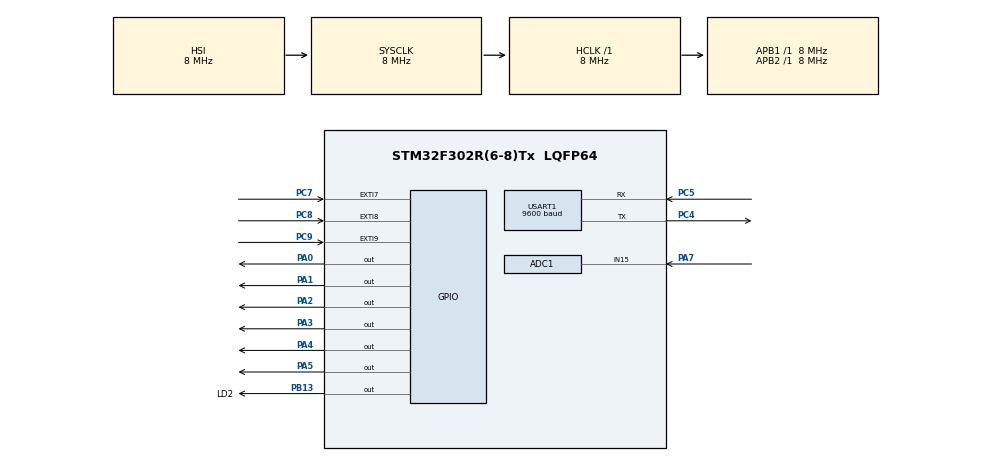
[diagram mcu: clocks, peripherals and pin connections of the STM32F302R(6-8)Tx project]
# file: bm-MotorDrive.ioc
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ADC1.Channel-1\#ChannelRegularConversion=ADC_CHANNEL_15
ADC1.ContinuousConvMode=ENABLE
ADC1.NbrOfConversionFlag=1
ADC1.Offset-1\#ChannelRegularConversion=0
ADC1.OffsetNumber-1\#ChannelRegularConversion=ADC_OFFSET_NONE
ADC1.Rank-1\#ChannelRegularConversion=1
ADC1.SamplingTime-1\#ChannelRegularConversion=ADC_SAMPLETIME_1CYCLE_5
ADC1.SamplingTimeOPAMP-1\#ChannelRegularConversion=ADC_SAMPLETIME_4CYCLES_5
ADC1.SubFamily=STM32F302x8
ADC1.master=1
Mcu.Family=STM32F3
Mcu.Name=STM32F302R(6-8)Tx
Mcu.Package=LQFP64
NVIC.EXTI9_5_IRQn=true\:0\:0\:false\:false\:true\:true\:true\:true
NVIC.PriorityGroup=NVIC_PRIORITYGROUP_4
NVIC.TIM2_IRQn=true\:0\:0\:false\:false\:true\:true\:true\:true
NVIC.USART1_IRQn=true\:0\:0\:false\:false\:true\:true\:true\:true
PA0.GPIO_Speed=GPIO_SPEED_FREQ_HIGH
PA0.PinState=GPIO_PIN_SET
PA0.Signal=GPIO_Output
PA1.GPIO_Speed=GPIO_SPEED_FREQ_HIGH
PA1.Signal=GPIO_Output
PA13.Mode=Serial_Wire
PA13.Signal=SYS_JTMS-SWDIO
PA14.Mode=Serial_Wire
PA14.Signal=SYS_JTCK-SWCLK
PA2.GPIO_Speed=GPIO_SPEED_FREQ_HIGH
PA2.Signal=GPIO_Output
PA3.GPIO_Speed=GPIO_SPEED_FREQ_HIGH
PA3.Signal=GPIO_Output
PA4.GPIO_Speed=GPIO_SPEED_FREQ_HIGH
PA4.Signal=GPIO_Output
PA5.GPIO_Speed=GPIO_SPEED_FREQ_HIGH
PA5.Signal=GPIO_Output
PA7.Mode=IN15-Single-Ended
PA7.Signal=ADC1_IN15
PB13.GPIO_Label=LD2
PB13.GPIO_Speed=GPIO_SPEED_FREQ_HIGH
PB13.Signal=GPIO_Output
PC4.Mode=Asynchronous
PC4.Signal=USART1_TX
PC5.Mode=Asynchronous
PC5.Signal=USART1_RX
PC7.GPIO_ModeDefaultEXTI=GPIO_MODE_IT_RISING_FALLING
PC7.GPIO_PuPd=GPIO_PULLUP
PC7.Signal=GPXTI7
PC8.GPIO_ModeDefaultEXTI=GPIO_MODE_IT_RISING_FALLING
PC8.GPIO_PuPd=GPIO_PULLUP
PC8.Signal=GPXTI8
PC9.GPIO_ModeDefaultEXTI=GPIO_MODE_IT_RISING_FALLING
PC9.GPIO_PuPd=GPIO_PULLUP
PC9.Signal=GPXTI9
ProjectManager.HeapSize=0x200
ProjectManager.StackSize=0x400
ProjectManager.TargetToolchain=STM32CubeIDE
RCC.ADC12PRES=RCC_ADC1PLLCLK_DIV2
RCC.AHBFreq_Value=8000000
RCC.APB1Freq_Value=8000000
RCC.APB2Freq_Value=8000000
RCC.CortexFreq_Value=8000000
RCC.HSE_VALUE=8000000
RCC.HSI_VALUE=8000000
RCC.LSE_VALUE=32768
RCC.PLLMUL=RCC_PLL_MUL8
RCC.SYSCLKFreq_VALUE=8000000
RCC.USBFreq_Value=32000000
TIM15.AutoReloadPreload=TIM_AUTORELOAD_PRELOAD_ENABLE
TIM2.AutoReloadPreload=TIM_AUTORELOAD_PRELOAD_DISABLE
TIM2.Period=57599
TIM2.Prescaler=0
USART1.BaudRate=9600
USART1.VirtualMode-Asynchronous=VM_ASYNC
VP_TIM15_VS_ClockSourceINT.Mode=Internal
VP_TIM2_VS_ClockSourceINT.Mode=Internal
board=custom

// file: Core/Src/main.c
/* USER CODE BEGIN Header */
/**
  ******************************************************************************
  * @file           : main.c
  * @brief          : Main program body
  ******************************************************************************
  * @attention
  *
  * Copyright (c) 2024 STMicroelectronics.
  * All rights reserved.
  *
  * This software is licensed under terms that can be found in the LICENSE file
  * in the root directory of this software component.
  * If no LICENSE file comes with this software, it is provided AS-IS.
  *
  ******************************************************************************
  */
/**
 * Version 0.1 08MAR24 /Dkv
 * Motor Driver for BLDC motor.
 * Hall sensors for Six-step Commutation.
 */
/* USER CODE END Header */
#include "main.h"

/* USER CODE BEGIN Includes */
#include <stdio.h>
#include <string.h>
#include "appver.h"
#include "bldc.h"
/* USER CODE END Includes */

/* USER CODE BEGIN PD */
// Using the clock settings PLL Multiplicator = x8 and setting the auto reload
// register equal to 8000 will produce a timer interrupt of 1 ms.
// This means that every tick = 0.125 µs -> 6400 ticks is 800µs.
//
// Note! The ioc-tool notifies the user/developer if the PLL Multiplicator is
// less than mentioned above. This is because the ADC resource shares the clock
// resource with the TIM2 timer resource and the timer needs to have a higher
// clock frequency that the ADC...
//
// Since we want the switching frequency to be 1250 Hz we can calculate the ref.
// value for the timer compare register from the simple relationship of
// 8MHz/1250Hz = 6400.
#define SWITCHING_PERIOD_CLK_TICKS 6400
#define SLOW_TEST

/* USER CODE END PD */

ADC_HandleTypeDef hadc1;

TIM_HandleTypeDef htim2;
TIM_HandleTypeDef htim15;

UART_HandleTypeDef huart1;

void SystemClock_Config(void);
static void MX_GPIO_Init(void);
static void MX_USART1_UART_Init(void);
static void MX_TIM2_Init(void);
static void MX_TIM15_Init(void);
static void MX_ADC1_Init(void);
/* USER CODE BEGIN PFP */
/* PFP = Private Function Prototype
 * Forward-declare functions that is to be used in the code.
 * Functions definitions to be placed at the end of USER CODE 4.
 * */
/* USER CODE END PFP */

/* USER CODE BEGIN 0 */
uint8_t hallState = 0;
uint8_t pwmUpdate = 0;
uint8_t switchON = 1;
uint16_t gadcValue = 0;
int switchON_compReg = 3200;
enum direction {
   CW, // Clockwise
   CCW // Counterclockwise
} dir;

/******************************************************************************
 * The GPIO callback is triggered by the change in any of the HALL sensors.
 * The Hall sensor state will determine the gating signals for the switching
 * elements that make the 3-phase inverter unit, which will constitute the six-
 * step commutation process.
 */
void HAL_GPIO_EXTI_Callback(uint16_t GPIO_Pin) {
   uint32_t portRegister = GPIOC->IDR;
   hallState = (unsigned int)((portRegister&0x0380)>>7);
   printf("hall state = 0x%02x\r\n", hallState);
}

/******************************************************************************
 * adcValue between 0 and 4096
 * 0 -> 2048 reverse, 2049 -> 4096 forward
 *
 * => adcValue/21 => DutyCycle between 0 and 100%
 * ReverseDutyCycle = (2048 - adcValue)/21
 * ForwardDutyCycle = (adcValue - 2048)/21
 *
 * The higher the difference between the adc value and the center reference
 * value is the higher the duty cycle percentage is, which is also what the
 * user would expect when turning the "speed knob" to its clockwise or counter-
 * clockwise end points.
 *
 * By definition:
 * DC = ONtime/period
 *
 * ex. on 400µs => 400/800 => DC = 50%
 *
 * For the concept of using the potentiometer for both forward and reverse
 * motoring we'll calculate the ONtime for use with timer TIM2 in the following
 * way:
 *
 * ONtime = (ForwardDutyCycle*6400)/100
 * for 50% DC:
 * ONtime = 50*6400/100 = 3200
 *
 * DC = 10% => 10*6400/100 = 640 * 0.125µs = 80µs = 10% of 800 µs
 *
 */
void adcValue2pwmDutyCycle(uint16_t adcValue) {
   uint16_t DutyCycle;

   if ((adcValue < (gadcValue-5)) || (adcValue > (gadcValue+5))) {
      gadcValue = adcValue;
      if (adcValue > 2048) { // forward motoring
         DutyCycle = (adcValue - 2048)/21; // max = 2048/21 = 97.5%
         dir = CW; // Clockwise
      }
      else if (adcValue < 2048) { // reverse motoring
         DutyCycle = (2048 - adcValue)/21; // max = 2048/21 = 97.5%
         dir = CCW; // Counterclockwise
      }
      else {
         return;
      }
      // THE DUTY CYCLE HAS TO BE GREATER THAN 0!!!
      if (DutyCycle <= 0) {
         DutyCycle = 1; // 1%...
      }
      // Determine the value to use in the timer compare register for the
      // actual duty cycle that is selected through the potentiometers
      // position.
      switchON_compReg = (DutyCycle*SWITCHING_PERIOD_CLK_TICKS)/100;
   }
   return;
}

void HAL_TIM_PeriodElapsedCallback(TIM_HandleTypeDef *htim) {
   // PWM Signal
   uint8_t index;
   // Determine the switching state index:
   if (dir == CW) {
      index = hallState - 1;
   }
   else {
      index = 6 - hallState;
   }
   if (switchON == 1) { // switch transition from ON to OFF
      switchON = 0;
      // Change switch-gate-port.
      //GPIOA->ODR |= invSwitchState[index];
      GPIOA->ODR |= 0x1;

      /* Set new value for timer compare. */
      //htim->Instance->ARR = switchON_compReg;
      __HAL_TIM_SET_AUTORELOAD(&htim2, switchON_compReg);
   }
   else { // switch transition from ON to OFF
      switchON = 1;
      // Change switch-gate-port.
      //GPIOA->ODR &= pwmPinOff[index];
      GPIOA->ODR &= ~0x0015; // Setting all high side gates low.

      /* Set new value for timer compare.*/
      //htim->Instance->ARR = SWITCHING_PERIOD_CLK_TICKS - switchON_compReg;
      __HAL_TIM_SET_AUTORELOAD(&htim2, SWITCHING_PERIOD_CLK_TICKS - switchON_compReg);
   }
}

int _write(int fd, char *ptr, int len) {
   //HAL_UART_Transmit(&huart1, (uint8_t *) ptr, len, HAL_MAX_DELAY);
   HAL_UART_Transmit(&huart1, (uint8_t*) ptr, len, 1000);
   return len;
}
/* USER CODE END 0 */

int main(void)
{
  /* USER CODE BEGIN 1 */
   uint32_t adc_value;
  /* USER CODE END 1 */

  /* MCU Configuration--------------------------------------------------------*/

  /* Reset of all peripherals, Initializes the Flash interface and the Systick. */
  HAL_Init();

  /* Configure the system clock */
  SystemClock_Config();

  /* Initialize all configured peripherals */
  MX_GPIO_Init();
  MX_USART1_UART_Init();
  MX_TIM2_Init();
  MX_TIM15_Init();
  MX_ADC1_Init();
  /* USER CODE BEGIN 2 */

  printf("\r\n\r\nbm-MotorDrive SW on STM32-NUCLEO-F302R8 development board\r\n");
  printf("Build No. %d\r\n", BUILD);
  //
  HAL_ADC_Start(&hadc1);
  HAL_ADCEx_Calibration_Start(&hadc1, ADC_SINGLE_ENDED);
  //
  HAL_ADC_PollForConversion(&hadc1, 1);
  adc_value = HAL_ADC_GetValue(&hadc1);
  printf("adc_value = %d\r\n", (int)adc_value);
  adcValue2pwmDutyCycle((uint16_t)adc_value);
  HAL_Delay(1000);

  HAL_TIM_Base_Start_IT(&htim2);
  /* USER CODE END 2 */

  /* Infinite loop */
  while (1)
  {

    /* USER CODE BEGIN 3 */
     HAL_GPIO_TogglePin(LD2_GPIO_Port, LD2_Pin);
     HAL_Delay(1000);

     // Poll ADC1 Peripheral & TimeOut = 1mSec
     HAL_ADC_PollForConversion(&hadc1, 1);
     adc_value = HAL_ADC_GetValue(&hadc1);
     printf("adc_value = %d\r\n", (int)adc_value);
     adcValue2pwmDutyCycle((uint16_t)adc_value);

  }
  /* USER CODE END 3 */
}

void SystemClock_Config(void)
{
  RCC_OscInitTypeDef RCC_OscInitStruct = {0};
  RCC_ClkInitTypeDef RCC_ClkInitStruct = {0};
  RCC_PeriphCLKInitTypeDef PeriphClkInit = {0};

  /** Initializes the RCC Oscillators according to the specified parameters
  * in the RCC_OscInitTypeDef structure.
  */
  RCC_OscInitStruct.OscillatorType = RCC_OSCILLATORTYPE_HSI;
  RCC_OscInitStruct.HSIState = RCC_HSI_ON;
  RCC_OscInitStruct.HSICalibrationValue = RCC_HSICALIBRATION_DEFAULT;
  RCC_OscInitStruct.PLL.PLLState = RCC_PLL_ON;
  RCC_OscInitStruct.PLL.PLLSource = RCC_PLLSOURCE_HSI;
  RCC_OscInitStruct.PLL.PLLMUL = RCC_PLL_MUL8;
  if (HAL_RCC_OscConfig(&RCC_OscInitStruct) != HAL_OK)
  {
    Error_Handler();
  }

  /** Initializes the CPU, AHB and APB buses clocks
  */
  RCC_ClkInitStruct.ClockType = RCC_CLOCKTYPE_HCLK|RCC_CLOCKTYPE_SYSCLK
                              |RCC_CLOCKTYPE_PCLK1|RCC_CLOCKTYPE_PCLK2;
  RCC_ClkInitStruct.SYSCLKSource = RCC_SYSCLKSOURCE_HSI;
  RCC_ClkInitStruct.AHBCLKDivider = RCC_SYSCLK_DIV1;
  RCC_ClkInitStruct.APB1CLKDivider = RCC_HCLK_DIV1;
  RCC_ClkInitStruct.APB2CLKDivider = RCC_HCLK_DIV1;

  if (HAL_RCC_ClockConfig(&RCC_ClkInitStruct, FLASH_LATENCY_0) != HAL_OK)
  {
    Error_Handler();
  }
  PeriphClkInit.PeriphClockSelection = RCC_PERIPHCLK_USART1|RCC_PERIPHCLK_TIM15
                              |RCC_PERIPHCLK_ADC1;
  PeriphClkInit.Usart1ClockSelection = RCC_USART1CLKSOURCE_PCLK1;
  PeriphClkInit.Tim15ClockSelection = RCC_TIM15CLK_HCLK;
  PeriphClkInit.Adc1ClockSelection = RCC_ADC1PLLCLK_DIV2;

  if (HAL_RCCEx_PeriphCLKConfig(&PeriphClkInit) != HAL_OK)
  {
    Error_Handler();
  }
}

static void MX_ADC1_Init(void)
{

  ADC_ChannelConfTypeDef sConfig = {0};

  /** Common config
  */
  hadc1.Instance = ADC1;
  hadc1.Init.ClockPrescaler = ADC_CLOCK_ASYNC_DIV1;
  hadc1.Init.Resolution = ADC_RESOLUTION_12B;
  hadc1.Init.ScanConvMode = ADC_SCAN_DISABLE;
  hadc1.Init.ContinuousConvMode = ENABLE;
  hadc1.Init.DiscontinuousConvMode = DISABLE;
  hadc1.Init.ExternalTrigConvEdge = ADC_EXTERNALTRIGCONVEDGE_NONE;
  hadc1.Init.ExternalTrigConv = ADC_SOFTWARE_START;
  hadc1.Init.DataAlign = ADC_DATAALIGN_RIGHT;
  hadc1.Init.NbrOfConversion = 1;
  hadc1.Init.DMAContinuousRequests = DISABLE;
  hadc1.Init.EOCSelection = ADC_EOC_SINGLE_CONV;
  hadc1.Init.LowPowerAutoWait = DISABLE;
  hadc1.Init.Overrun = ADC_OVR_DATA_OVERWRITTEN;
  if (HAL_ADC_Init(&hadc1) != HAL_OK)
  {
    Error_Handler();
  }

  /** Configure Regular Channel
  */
  sConfig.Channel = ADC_CHANNEL_15;
  sConfig.Rank = ADC_REGULAR_RANK_1;
  sConfig.SingleDiff = ADC_SINGLE_ENDED;
  sConfig.SamplingTime = ADC_SAMPLETIME_1CYCLE_5;
  sConfig.OffsetNumber = ADC_OFFSET_NONE;
  sConfig.Offset = 0;
  if (HAL_ADC_ConfigChannel(&hadc1, &sConfig) != HAL_OK)
  {
    Error_Handler();
  }

}

static void MX_TIM2_Init(void)
{

  TIM_ClockConfigTypeDef sClockSourceConfig = {0};
  TIM_MasterConfigTypeDef sMasterConfig = {0};

  htim2.Instance = TIM2;
  htim2.Init.Prescaler = 0;
  htim2.Init.CounterMode = TIM_COUNTERMODE_UP;
  htim2.Init.Period = 57599;
  htim2.Init.ClockDivision = TIM_CLOCKDIVISION_DIV1;
  htim2.Init.AutoReloadPreload = TIM_AUTORELOAD_PRELOAD_DISABLE;
  if (HAL_TIM_Base_Init(&htim2) != HAL_OK)
  {
    Error_Handler();
  }
  sClockSourceConfig.ClockSource = TIM_CLOCKSOURCE_INTERNAL;
  if (HAL_TIM_ConfigClockSource(&htim2, &sClockSourceConfig) != HAL_OK)
  {
    Error_Handler();
  }
  sMasterConfig.MasterOutputTrigger = TIM_TRGO_RESET;
  sMasterConfig.MasterSlaveMode = TIM_MASTERSLAVEMODE_DISABLE;
  if (HAL_TIMEx_MasterConfigSynchronization(&htim2, &sMasterConfig) != HAL_OK)
  {
    Error_Handler();
  }

}

static void MX_TIM15_Init(void)
{

  TIM_ClockConfigTypeDef sClockSourceConfig = {0};
  TIM_MasterConfigTypeDef sMasterConfig = {0};

  htim15.Instance = TIM15;
  htim15.Init.Prescaler = 0;
  htim15.Init.CounterMode = TIM_COUNTERMODE_UP;
  htim15.Init.Period = 65535;
  htim15.Init.ClockDivision = TIM_CLOCKDIVISION_DIV1;
  htim15.Init.RepetitionCounter = 0;
  htim15.Init.AutoReloadPreload = TIM_AUTORELOAD_PRELOAD_ENABLE;
  if (HAL_TIM_Base_Init(&htim15) != HAL_OK)
  {
    Error_Handler();
  }
  sClockSourceConfig.ClockSource = TIM_CLOCKSOURCE_INTERNAL;
  if (HAL_TIM_ConfigClockSource(&htim15, &sClockSourceConfig) != HAL_OK)
  {
    Error_Handler();
  }
  sMasterConfig.MasterOutputTrigger = TIM_TRGO_RESET;
  sMasterConfig.MasterSlaveMode = TIM_MASTERSLAVEMODE_DISABLE;
  if (HAL_TIMEx_MasterConfigSynchronization(&htim15, &sMasterConfig) != HAL_OK)
  {
    Error_Handler();
  }

}

static void MX_USART1_UART_Init(void)
{

  huart1.Instance = USART1;
  huart1.Init.BaudRate = 9600;
  huart1.Init.WordLength = UART_WORDLENGTH_8B;
  huart1.Init.StopBits = UART_STOPBITS_1;
  huart1.Init.Parity = UART_PARITY_NONE;
  huart1.Init.Mode = UART_MODE_TX_RX;
  huart1.Init.HwFlowCtl = UART_HWCONTROL_NONE;
  huart1.Init.OverSampling = UART_OVERSAMPLING_16;
  huart1.Init.OneBitSampling = UART_ONE_BIT_SAMPLE_DISABLE;
  huart1.AdvancedInit.AdvFeatureInit = UART_ADVFEATURE_NO_INIT;
  if (HAL_UART_Init(&huart1) != HAL_OK)
  {
    Error_Handler();
  }

}

static void MX_GPIO_Init(void)
{
  GPIO_InitTypeDef GPIO_InitStruct = {0};

  /* GPIO Ports Clock Enable */
  __HAL_RCC_GPIOA_CLK_ENABLE();
  __HAL_RCC_GPIOC_CLK_ENABLE();
  __HAL_RCC_GPIOB_CLK_ENABLE();

  /*Configure GPIO pin Output Level */
  HAL_GPIO_WritePin(GPIOA, GPIO_PIN_0, GPIO_PIN_SET);

  /*Configure GPIO pin Output Level */
  HAL_GPIO_WritePin(GPIOA, GPIO_PIN_1|GPIO_PIN_2|GPIO_PIN_3|GPIO_PIN_4
                          |GPIO_PIN_5, GPIO_PIN_RESET);

  /*Configure GPIO pin Output Level */
  HAL_GPIO_WritePin(LD2_GPIO_Port, LD2_Pin, GPIO_PIN_RESET);

  /*Configure GPIO pins : PA0 PA1 PA2 PA3
                           PA4 PA5 */
  GPIO_InitStruct.Pin = GPIO_PIN_0|GPIO_PIN_1|GPIO_PIN_2|GPIO_PIN_3
                          |GPIO_PIN_4|GPIO_PIN_5;
  GPIO_InitStruct.Mode = GPIO_MODE_OUTPUT_PP;
  GPIO_InitStruct.Pull = GPIO_NOPULL;
  GPIO_InitStruct.Speed = GPIO_SPEED_FREQ_HIGH;
  HAL_GPIO_Init(GPIOA, &GPIO_InitStruct);

  /*Configure GPIO pin : LD2_Pin */
  GPIO_InitStruct.Pin = LD2_Pin;
  GPIO_InitStruct.Mode = GPIO_MODE_OUTPUT_PP;
  GPIO_InitStruct.Pull = GPIO_NOPULL;
  GPIO_InitStruct.Speed = GPIO_SPEED_FREQ_HIGH;
  HAL_GPIO_Init(LD2_GPIO_Port, &GPIO_InitStruct);

  /*Configure GPIO pins : PC7 PC8 PC9 */
  GPIO_InitStruct.Pin = GPIO_PIN_7|GPIO_PIN_8|GPIO_PIN_9;
  GPIO_InitStruct.Mode = GPIO_MODE_IT_RISING_FALLING;
  GPIO_InitStruct.Pull = GPIO_PULLUP;
  HAL_GPIO_Init(GPIOC, &GPIO_InitStruct);

  /* EXTI interrupt init*/
  HAL_NVIC_SetPriority(EXTI9_5_IRQn, 0, 0);
  HAL_NVIC_EnableIRQ(EXTI9_5_IRQn);

}

void Error_Handler(void)
{
  __disable_irq();
  while (1)
  {
  }
}
